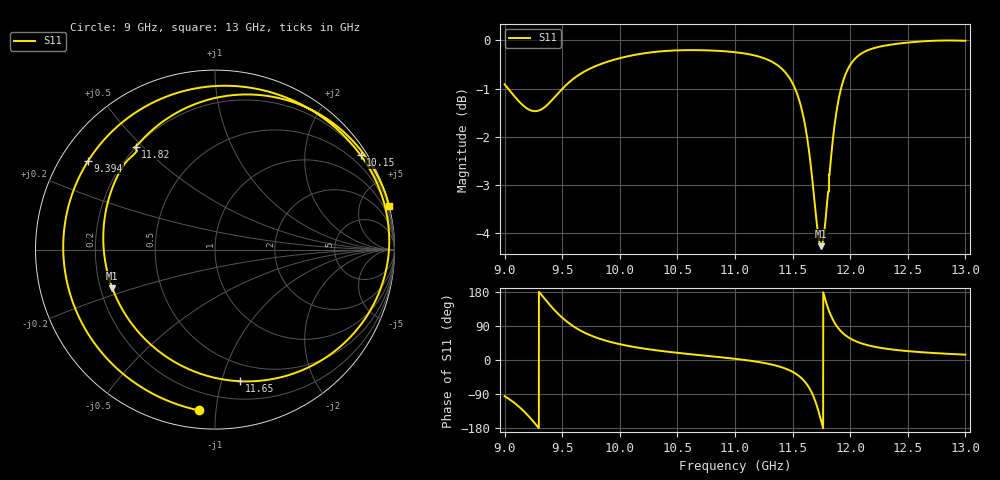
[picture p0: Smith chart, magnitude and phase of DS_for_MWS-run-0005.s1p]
! TOUCHSTONE file generated by CST DESIGN STUDIO
! Date and time: Tue Feb  4 13:58:07 2025
! Project name: C:\Work\MatlabApps\UnitCellOptimizationMatlab\CST\unitcell.cst
! Tree item: Tasks\Sweep1\SPara1\S-Parameters
! Header version: 2024
! Port assignment regex: !\s*Touchstone port\s*([0-9]+)\s*=\s*(CST MWS port|CST DES external port|CST DES block port)\s*(.+)\s* \(\"(.*)\"\)(\s*mode\s*([0-9]+))?.*
! Touchstone port assignment:
! Touchstone port 1 = CST DES external port 1 ("")
# GHz S MA R 50
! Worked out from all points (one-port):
!   4001 points, 9 GHz to 13 GHz, reference 50 ohm
!   lowest |S11| = -4.3 dB at 11.75 GHz (marker M1), VSWR 4.14, Z = 12.4 - j8.52 ohm
!   |S11| at or under -10 dB: nowhere
!   S11 on the Smith chart (normalised r, x): 9 GHz: 0.10, -0.90; 9.394 GHz: 0.08, +0.31; 10.15 GHz: 0.21, +3.36; 11.65 GHz: 0.35, -1.15; 11.82 GHz: 0.20, +0.48; 13 GHz: 0.02, +8.06
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9  0.9004 -95.5
9.132  0.8624 -125.2
9.25  0.8444 -162.6
9.321  0.8481 171.4
9.394  0.8625 144.9
9.5  0.8904 111.8
9.594  0.9117 89.6
9.723  0.9325 68.0
9.848  0.9463 53.8
10  0.9585 41.7
10.15  0.9671 33.0
10.5  0.9766 18.9
11  0.9723 3.2
11.326  0.9496 -12.5
11.5  0.9023 -31.3
11.586  0.8412 -50.5
11.655  0.7462 -79.3
11.702  0.6587 -112.9
11.747  0.611 -159.4
11.781  0.6418 162.5
11.819  0.7241 127.6
11.851  0.7917 105.7
11.887  0.8521 87.7
11.94  0.9084 69.9
12  0.943 56.8
12.178  0.9795 37.1
12.5  0.995 23.4
13  0.9992 14.2
